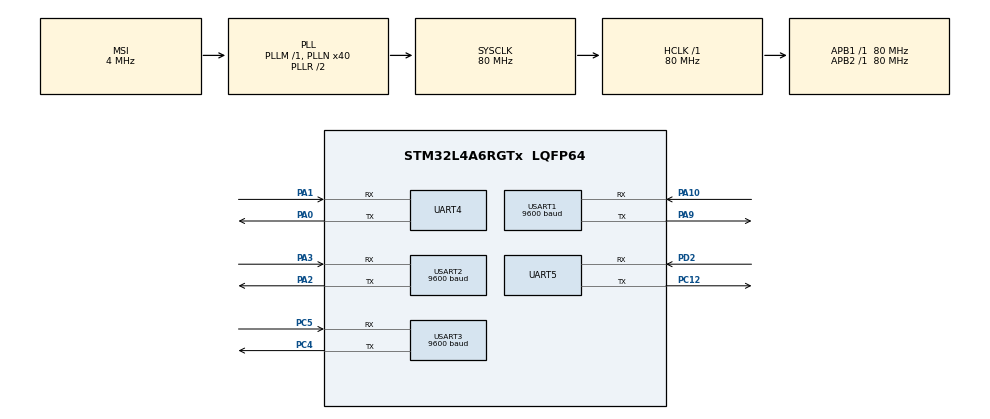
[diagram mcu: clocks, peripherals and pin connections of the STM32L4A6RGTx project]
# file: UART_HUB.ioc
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Dma.Request0=UART4_RX
Dma.Request1=USART3_RX
Dma.UART4_RX.0.Direction=DMA_PERIPH_TO_MEMORY
Dma.UART4_RX.0.Instance=DMA2_Channel5
Dma.UART4_RX.0.MemDataAlignment=DMA_MDATAALIGN_BYTE
Dma.UART4_RX.0.MemInc=DMA_MINC_ENABLE
Dma.UART4_RX.0.Mode=DMA_NORMAL
Dma.UART4_RX.0.PeriphDataAlignment=DMA_PDATAALIGN_BYTE
Dma.UART4_RX.0.PeriphInc=DMA_PINC_DISABLE
Dma.UART4_RX.0.Priority=DMA_PRIORITY_LOW
Dma.USART3_RX.1.Direction=DMA_PERIPH_TO_MEMORY
Dma.USART3_RX.1.Instance=DMA1_Channel3
Dma.USART3_RX.1.MemDataAlignment=DMA_MDATAALIGN_BYTE
Dma.USART3_RX.1.MemInc=DMA_MINC_ENABLE
Dma.USART3_RX.1.Mode=DMA_NORMAL
Dma.USART3_RX.1.PeriphDataAlignment=DMA_PDATAALIGN_BYTE
Dma.USART3_RX.1.PeriphInc=DMA_PINC_DISABLE
Dma.USART3_RX.1.Priority=DMA_PRIORITY_LOW
FREERTOS.Tasks01=defaultTask,0,128,StartDefaultTask,Default,NULL
Mcu.Family=STM32L4
Mcu.Name=STM32L4A6RGTx
Mcu.Package=LQFP64
NVIC.DMA1_Channel3_IRQn=true\:5\:0\:false\:false\:true\:true\:false\:true
NVIC.DMA2_Channel5_IRQn=true\:5\:0\:false\:false\:true\:true\:false\:true
NVIC.PriorityGroup=NVIC_PRIORITYGROUP_4
NVIC.TIM7_IRQn=true\:0\:0\:false\:false\:true\:false\:false\:true
NVIC.TimeBase=TIM7_IRQn
NVIC.TimeBaseIP=TIM7
PA0.Mode=Asynchronous
PA0.Signal=UART4_TX
PA1.Mode=Asynchronous
PA1.Signal=UART4_RX
PA10.Mode=Asynchronous
PA10.Signal=USART1_RX
PA2.Mode=Asynchronous
PA2.Signal=USART2_TX
PA3.Mode=Asynchronous
PA3.Signal=USART2_RX
PA9.Mode=Asynchronous
PA9.Signal=USART1_TX
PC12.Mode=Asynchronous
PC12.Signal=UART5_TX
PC4.Mode=Asynchronous
PC4.Signal=USART3_TX
PC5.Mode=Asynchronous
PC5.Signal=USART3_RX
PD2.Mode=Asynchronous
PD2.Signal=UART5_RX
PH0-OSC_IN\ (PH0).Mode=HSE-External-Oscillator
PH0-OSC_IN\ (PH0).Signal=RCC_OSC_IN
PH1-OSC_OUT\ (PH1).Mode=HSE-External-Oscillator
PH1-OSC_OUT\ (PH1).Signal=RCC_OSC_OUT
ProjectManager.HeapSize=0x200
ProjectManager.StackSize=0x400
ProjectManager.TargetToolchain=TrueSTUDIO
RCC.ADCFreq_Value=16000000
RCC.AHBFreq_Value=80000000
RCC.APB1Freq_Value=80000000
RCC.APB1TimFreq_Value=80000000
RCC.APB2Freq_Value=80000000
RCC.APB2TimFreq_Value=80000000
RCC.CortexFreq_Value=80000000
RCC.HCLKFreq_Value=80000000
RCC.HSE_VALUE=20000000
RCC.HSI48_VALUE=48000000
RCC.HSI_VALUE=16000000
RCC.LSE_VALUE=32768
RCC.MSI_VALUE=4000000
RCC.PLLN=40
RCC.SYSCLKFreq_VALUE=80000000
RCC.SYSCLKSource=RCC_SYSCLKSOURCE_PLLCLK
RCC.USBFreq_Value=16000000
RCC.VCOOutputFreq_Value=160000000
USART1.BaudRate=9600
USART1.VirtualMode-Asynchronous=VM_ASYNC
USART2.BaudRate=9600
USART2.VirtualMode-Asynchronous=VM_ASYNC
USART3.BaudRate=9600
USART3.VirtualMode-Asynchronous=VM_ASYNC
VP_FREERTOS_VS_CMSIS_V1.Mode=CMSIS_V1
VP_SYS_VS_tim7.Mode=TIM7
board=custom

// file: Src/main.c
/* USER CODE BEGIN Header */
/**
  ******************************************************************************
  * @file           : main.c
  * @brief          : Main program body
  ******************************************************************************
  * @attention
  *
  * <h2><center>&copy; Copyright (c) 2019 STMicroelectronics.
  * All rights reserved.</center></h2>
  *
  * This software component is licensed by ST under BSD 3-Clause license,
  * the "License"; You may not use this file except in compliance with the
  * License. You may obtain a copy of the License at:
  *                        opensource.org/licenses/BSD-3-Clause
  *
  ******************************************************************************
  */
/* USER CODE END Header */

#include "main.h"
#include "cmsis_os.h"

UART_HandleTypeDef huart4;
UART_HandleTypeDef huart5;
UART_HandleTypeDef huart1;
UART_HandleTypeDef huart2;
UART_HandleTypeDef huart3;
DMA_HandleTypeDef hdma_uart4_rx;
DMA_HandleTypeDef hdma_usart3_rx;

osThreadId defaultTaskHandle;
/* USER CODE BEGIN PV */
uint8_t input[6];
osThreadId uartReadTaskHandle;
osThreadId uartSendTaskHandle;
/* USER CODE END PV */

void SystemClock_Config(void);
static void MX_GPIO_Init(void);
static void MX_DMA_Init(void);
static void MX_UART4_Init(void);
static void MX_UART5_Init(void);
static void MX_USART1_UART_Init(void);
static void MX_USART2_UART_Init(void);
static void MX_USART3_UART_Init(void);
void StartDefaultTask(void const * argument);

/* USER CODE BEGIN PFP */
void StartUartReadTask(void const *argument);
void StartUartSendTask(void const *argument);
/* USER CODE END PFP */

int main(void)
{

  /* MCU Configuration--------------------------------------------------------*/

  /* Reset of all peripherals, Initializes the Flash interface and the Systick. */
  HAL_Init();

  /* Configure the system clock */
  SystemClock_Config();

  /* Initialize all configured peripherals */
  MX_GPIO_Init();
  MX_DMA_Init();
  MX_UART4_Init();
  MX_UART5_Init();
  MX_USART1_UART_Init();
  MX_USART2_UART_Init();
  MX_USART3_UART_Init();

  /* Create the thread(s) */
  /* definition and creation of defaultTask */
  osThreadDef(defaultTask, StartDefaultTask, osPriorityNormal, 0, 128);
  defaultTaskHandle = osThreadCreate(osThread(defaultTask), NULL);

  /* USER CODE BEGIN RTOS_THREADS */
  /* add threads, ... */
  osThreadDef(uartReadTask, StartUartReadTask, osPriorityNormal, 0, 128);
  uartReadTaskHandle = osThreadCreate(osThread(uartReadTask), NULL);

  osThreadDef(uartSendTask, StartUartSendTask, osPriorityAboveNormal, 0, 128);
  uartSendTaskHandle = osThreadCreate(osThread(uartSendTask), NULL);
  /* USER CODE END RTOS_THREADS */

  /* Start scheduler */
  osKernelStart();

  /* We should never get here as control is now taken by the scheduler */

  /* Infinite loop */
  while (1)
  {

  }
}

void SystemClock_Config(void)
{
  RCC_OscInitTypeDef RCC_OscInitStruct = {0};
  RCC_ClkInitTypeDef RCC_ClkInitStruct = {0};
  RCC_PeriphCLKInitTypeDef PeriphClkInit = {0};

  /** Initializes the CPU, AHB and APB busses clocks
  */
  RCC_OscInitStruct.OscillatorType = RCC_OSCILLATORTYPE_MSI;
  RCC_OscInitStruct.MSIState = RCC_MSI_ON;
  RCC_OscInitStruct.MSICalibrationValue = 0;
  RCC_OscInitStruct.MSIClockRange = RCC_MSIRANGE_6;
  RCC_OscInitStruct.PLL.PLLState = RCC_PLL_ON;
  RCC_OscInitStruct.PLL.PLLSource = RCC_PLLSOURCE_MSI;
  RCC_OscInitStruct.PLL.PLLM = 1;
  RCC_OscInitStruct.PLL.PLLN = 40;
  RCC_OscInitStruct.PLL.PLLP = RCC_PLLP_DIV2;
  RCC_OscInitStruct.PLL.PLLQ = RCC_PLLQ_DIV2;
  RCC_OscInitStruct.PLL.PLLR = RCC_PLLR_DIV2;
  if (HAL_RCC_OscConfig(&RCC_OscInitStruct) != HAL_OK)
  {
    Error_Handler();
  }
  /** Initializes the CPU, AHB and APB busses clocks
  */
  RCC_ClkInitStruct.ClockType = RCC_CLOCKTYPE_HCLK|RCC_CLOCKTYPE_SYSCLK
                              |RCC_CLOCKTYPE_PCLK1|RCC_CLOCKTYPE_PCLK2;
  RCC_ClkInitStruct.SYSCLKSource = RCC_SYSCLKSOURCE_PLLCLK;
  RCC_ClkInitStruct.AHBCLKDivider = RCC_SYSCLK_DIV1;
  RCC_ClkInitStruct.APB1CLKDivider = RCC_HCLK_DIV1;
  RCC_ClkInitStruct.APB2CLKDivider = RCC_HCLK_DIV1;

  if (HAL_RCC_ClockConfig(&RCC_ClkInitStruct, FLASH_LATENCY_4) != HAL_OK)
  {
    Error_Handler();
  }
  PeriphClkInit.PeriphClockSelection = RCC_PERIPHCLK_USART1|RCC_PERIPHCLK_USART2
                              |RCC_PERIPHCLK_USART3|RCC_PERIPHCLK_UART4
                              |RCC_PERIPHCLK_UART5;
  PeriphClkInit.Usart1ClockSelection = RCC_USART1CLKSOURCE_PCLK2;
  PeriphClkInit.Usart2ClockSelection = RCC_USART2CLKSOURCE_PCLK1;
  PeriphClkInit.Usart3ClockSelection = RCC_USART3CLKSOURCE_PCLK1;
  PeriphClkInit.Uart4ClockSelection = RCC_UART4CLKSOURCE_PCLK1;
  PeriphClkInit.Uart5ClockSelection = RCC_UART5CLKSOURCE_PCLK1;
  if (HAL_RCCEx_PeriphCLKConfig(&PeriphClkInit) != HAL_OK)
  {
    Error_Handler();
  }
  /** Configure the main internal regulator output voltage
  */
  if (HAL_PWREx_ControlVoltageScaling(PWR_REGULATOR_VOLTAGE_SCALE1) != HAL_OK)
  {
    Error_Handler();
  }
}

static void MX_UART4_Init(void)
{

  huart4.Instance = UART4;
  huart4.Init.BaudRate = 115200;
  huart4.Init.WordLength = UART_WORDLENGTH_8B;
  huart4.Init.StopBits = UART_STOPBITS_1;
  huart4.Init.Parity = UART_PARITY_NONE;
  huart4.Init.Mode = UART_MODE_TX_RX;
  huart4.Init.HwFlowCtl = UART_HWCONTROL_NONE;
  huart4.Init.OverSampling = UART_OVERSAMPLING_16;
  huart4.Init.OneBitSampling = UART_ONE_BIT_SAMPLE_DISABLE;
  huart4.AdvancedInit.AdvFeatureInit = UART_ADVFEATURE_NO_INIT;
  if (HAL_UART_Init(&huart4) != HAL_OK)
  {
    Error_Handler();
  }

}

static void MX_UART5_Init(void)
{

  huart5.Instance = UART5;
  huart5.Init.BaudRate = 115200;
  huart5.Init.WordLength = UART_WORDLENGTH_8B;
  huart5.Init.StopBits = UART_STOPBITS_1;
  huart5.Init.Parity = UART_PARITY_NONE;
  huart5.Init.Mode = UART_MODE_TX_RX;
  huart5.Init.HwFlowCtl = UART_HWCONTROL_NONE;
  huart5.Init.OverSampling = UART_OVERSAMPLING_16;
  huart5.Init.OneBitSampling = UART_ONE_BIT_SAMPLE_DISABLE;
  huart5.AdvancedInit.AdvFeatureInit = UART_ADVFEATURE_NO_INIT;
  if (HAL_UART_Init(&huart5) != HAL_OK)
  {
    Error_Handler();
  }

}

static void MX_USART1_UART_Init(void)
{

  huart1.Instance = USART1;
  huart1.Init.BaudRate = 9600;
  huart1.Init.WordLength = UART_WORDLENGTH_8B;
  huart1.Init.StopBits = UART_STOPBITS_1;
  huart1.Init.Parity = UART_PARITY_NONE;
  huart1.Init.Mode = UART_MODE_TX_RX;
  huart1.Init.HwFlowCtl = UART_HWCONTROL_NONE;
  huart1.Init.OverSampling = UART_OVERSAMPLING_16;
  huart1.Init.OneBitSampling = UART_ONE_BIT_SAMPLE_DISABLE;
  huart1.AdvancedInit.AdvFeatureInit = UART_ADVFEATURE_NO_INIT;
  if (HAL_UART_Init(&huart1) != HAL_OK)
  {
    Error_Handler();
  }

}

static void MX_USART2_UART_Init(void)
{

  huart2.Instance = USART2;
  huart2.Init.BaudRate = 9600;
  huart2.Init.WordLength = UART_WORDLENGTH_8B;
  huart2.Init.StopBits = UART_STOPBITS_1;
  huart2.Init.Parity = UART_PARITY_NONE;
  huart2.Init.Mode = UART_MODE_TX_RX;
  huart2.Init.HwFlowCtl = UART_HWCONTROL_NONE;
  huart2.Init.OverSampling = UART_OVERSAMPLING_16;
  huart2.Init.OneBitSampling = UART_ONE_BIT_SAMPLE_DISABLE;
  huart2.AdvancedInit.AdvFeatureInit = UART_ADVFEATURE_NO_INIT;
  if (HAL_UART_Init(&huart2) != HAL_OK)
  {
    Error_Handler();
  }

}

static void MX_USART3_UART_Init(void)
{

  huart3.Instance = USART3;
  huart3.Init.BaudRate = 9600;
  huart3.Init.WordLength = UART_WORDLENGTH_8B;
  huart3.Init.StopBits = UART_STOPBITS_1;
  huart3.Init.Parity = UART_PARITY_NONE;
  huart3.Init.Mode = UART_MODE_TX_RX;
  huart3.Init.HwFlowCtl = UART_HWCONTROL_NONE;
  huart3.Init.OverSampling = UART_OVERSAMPLING_16;
  huart3.Init.OneBitSampling = UART_ONE_BIT_SAMPLE_DISABLE;
  huart3.AdvancedInit.AdvFeatureInit = UART_ADVFEATURE_NO_INIT;
  if (HAL_UART_Init(&huart3) != HAL_OK)
  {
    Error_Handler();
  }

}

static void MX_DMA_Init(void)
{
  /* DMA controller clock enable */
  __HAL_RCC_DMA2_CLK_ENABLE();
  __HAL_RCC_DMA1_CLK_ENABLE();

  /* DMA interrupt init */
  /* DMA1_Channel3_IRQn interrupt configuration */
  HAL_NVIC_SetPriority(DMA1_Channel3_IRQn, 5, 0);
  HAL_NVIC_EnableIRQ(DMA1_Channel3_IRQn);
  /* DMA2_Channel5_IRQn interrupt configuration */
  HAL_NVIC_SetPriority(DMA2_Channel5_IRQn, 5, 0);
  HAL_NVIC_EnableIRQ(DMA2_Channel5_IRQn);

}

static void MX_GPIO_Init(void)
{

  /* GPIO Ports Clock Enable */
  __HAL_RCC_GPIOH_CLK_ENABLE();
  __HAL_RCC_GPIOA_CLK_ENABLE();
  __HAL_RCC_GPIOC_CLK_ENABLE();
  __HAL_RCC_GPIOD_CLK_ENABLE();

}

/* USER CODE BEGIN 4 */
void StartUartReadTask(void const *argument)
{
    // HAL_ADC_Start_IT(&hadc1);
    HAL_UART_Transmit(&huart2, "Start ADC read\r\n", strlen("Start ADC read\r\n"), 100);
    HAL_UART_Receive_IT(&huart3, input, 6);

    // char s[10] = "Alive\r\n";
    // HAL_ADC_Start(&hadc2);
    for (;;)
    {
        // HAL_UART_Transmit_IT(&huart2, s, strlen(s));
        // HAL_GPIO_TogglePin(GPIOC, LED_G_Pin);
        // HAL_ADC_PollForConversion(&hadc2, 1000);
        // int a = HAL_ADC_GetValue(&hadc2);
        // char msg[50];
        // sprintf(msg, "ADC Value %d\r\n", a);
        // HAL_UART_Transmit(&huart2, buffer, strlen(buffer), 100);
        // if (HAL_ADC_STATE_READY & HAL_ADC_GetState(&hadc2)) HAL_ADC_Start_IT(&hadc2);
        osDelay(100);
    }
}
void HAL_UART_RxCpltCallback(UART_HandleTypeDef *huart)
{
  HAL_UART_Transmit_IT(&huart2, "test\r\n", strlen("test\r\n"));
  HAL_UART_Receive_IT(&huart3, input, 6);
}

void StartUartSendTask(void const *argument)
{
    // HAL_ADC_Start_IT(&hadc1);
    HAL_UART_Transmit(&huart2, "test\r\n", strlen("test\r\n"), 100);

    // char s[10] = "Alive\r\n";
    // HAL_ADC_Start(&hadc2);
    for (;;)
    {
        // HAL_UART_Transmit_IT(&huart2, s, strlen(s));
        // HAL_GPIO_TogglePin(GPIOC, LED_G_Pin);
        // HAL_ADC_PollForConversion(&hadc2, 1000);
        // int a = HAL_ADC_GetValue(&hadc2);
        // char msg[50];
        // sprintf(msg, "ADC Value %d\r\n", a);
        // HAL_UART_Transmit(&huart2, buffer, strlen(buffer), 100);
        // if (HAL_ADC_STATE_READY & HAL_ADC_GetState(&hadc2)) HAL_ADC_Start_IT(&hadc2);
    	//HAL_UART_Transmit(&huart2, "Start ADC read\r\n", strlen("Start ADC read\r\n"), 100);
    	HAL_UART_Transmit(&huart1, "test\r\n", 6, 100);
        osDelay(100);
    }
}

/* USER CODE END 4 */

void StartDefaultTask(void const * argument)
{

  for(;;)
  {
    osDelay(1);
  }
}

void HAL_TIM_PeriodElapsedCallback(TIM_HandleTypeDef *htim)
{
  if (htim->Instance == TIM7) {
    HAL_IncTick();
  }
}

void Error_Handler(void)
{
}

/************************ (C) COPYRIGHT STMicroelectronics *****END OF FILE****/
